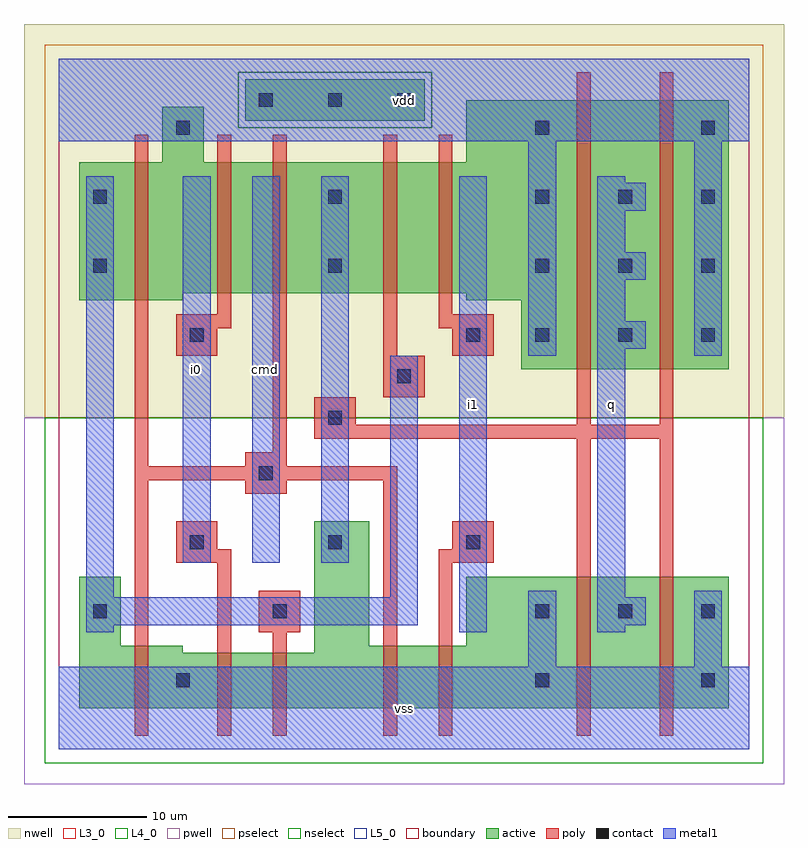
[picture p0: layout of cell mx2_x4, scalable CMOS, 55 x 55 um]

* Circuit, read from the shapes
.subckt mx2_x4 cmd i0 i1 q vdd vss
M1 vss cmd n1 VSUBS nfet w=4.5u l=1u
M2 n2 i0 vss VSUBS nfet w=4u l=1u
M3 n3 n1 n2 VSUBS nfet w=4u l=1u
M4 n4 cmd n3 VSUBS nfet w=4.5u l=1u
M5 vss i1 n4 VSUBS nfet w=4.5u l=1u
M6 q n3 vss VSUBS nfet w=9.5u l=1u m=2
M7 vdd cmd n1 vdd pfet w=10u l=1u
M8 n5 i0 vdd vdd pfet w=9.5u l=1u
M9 n3 cmd n5 vdd pfet w=9.5u l=1u
M10 n6 n1 n3 vdd pfet w=9.5u l=1u
M11 vdd i1 n6 vdd pfet w=9.5u l=1u
M12 q n3 vdd vdd pfet w=19.5u l=1u m=2
.ends

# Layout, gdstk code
import gdstk
lib = gdstk.Library(unit=1e-6, precision=1e-09)
def R(c, l, rs):  # rectangles x0, y0, x1, y1
    for r in rs: c.add(gdstk.rectangle(r[:2], r[2:], *l))
def A(c, l, x, y, w, h, nx, ny, dx, dy):  # array of equal rectangles
    R(c, l, [(x+i*dx, y+j*dy, x+i*dx+w, y+j*dy+h) for i in range(nx) for j in range(ny)])
L3_0 = (3, 0)
L4_0 = (4, 0)
L5_0 = (5, 0)
contact = (25, 0)
pwell = (41, 0)
nwell = (42, 0)
active = (43, 0)
pselect = (44, 0)
nselect = (45, 0)
poly = (46, 0)
metal1 = (49, 0)
boundary = (63, 0)

mx2_x4 = lib.new_cell('mx2_x4')
R(mx2_x4, L3_0, [(1.5,3,48.5,7), (1.5,7,9,7.5), (18.5,7,48.5,7.5), (1.5,7.5,4.5,12.5), (18.5,7.5,22.5,16.5), (29.5,7.5,48.5,12.5)])
R(mx2_x4, L4_0, [(33.5,27.5,48.5,32.5), (1.5,32.5,9,33), (29.5,32.5,48.5,33), (1.5,33,48.5,42.5), (7.5,42.5,10.5,46.5), (29.5,42.5,48.5,47)])
R(mx2_x4, L5_0, [(13.5,45.5,26.5,48.5)])
A(mx2_x4, contact, 34.5, 9.5, 1, 1, 3, 2, 6, 20)
A(mx2_x4, contact, 9.5, 14.5, 1, 1, 3, 1, 10, 0)
A(mx2_x4, contact, 34.5, 34.5, 1, 1, 3, 2, 6, 5)
A(mx2_x4, contact, 14.5, 46.5, 1, 1, 3, 1, 5, 0)
R(mx2_x4, contact, [(8.5,4.5,9.5,5.5), (34.5,4.5,35.5,5.5), (46.5,4.5,47.5,5.5), (2.5,9.5,3.5,10.5), (15.5,9.5,16.5,10.5), (14.5,19.5,15.5,20.5), (19.5,23.5,20.5,24.5), (24.5,26.5,25.5,27.5), (9.5,29.5,10.5,30.5), (29.5,29.5,30.5,30.5), (2.5,34.5,3.5,35.5), (19.5,34.5,20.5,35.5), (2.5,39.5,3.5,40.5), (19.5,39.5,20.5,40.5), (8.5,44.5,9.5,45.5), (34.5,44.5,35.5,45.5), (46.5,44.5,47.5,45.5)])
R(mx2_x4, pwell, [(-2.5,-2.5,52.5,24)])
R(mx2_x4, nwell, [(-2.5,24,52.5,52.5)])
R(mx2_x4, active, [(1.5,3,48.5,7), (1.5,7,9,7.5), (18.5,7,48.5,7.5), (1.5,7.5,4.5,12.5), (18.5,7.5,22.5,16.5), (29.5,7.5,48.5,12.5), (33.5,27.5,48.5,32.5), (1.5,32.5,9,33), (29.5,32.5,48.5,33), (1.5,33,48.5,42.5), (7.5,42.5,10.5,46.5), (29.5,42.5,48.5,47), (13.5,45.5,26.5,48.5)])
R(mx2_x4, pselect, [(-1,24,51,45), (-1,45,13,49), (27,45,51,49), (-1,49,51,51)])
R(mx2_x4, nselect, [(-1,-1,51,24), (13,45,27,49)])
R(mx2_x4, poly, [(5.5,1,6.5,19.5), (11.5,1,12.5,13.5), (15.5,1,16.5,8.5), (23.5,1,24.5,19.5), (27.5,1,28.5,13.5), (37.5,1,38.5,22.5), (43.5,1,44.5,22.5), (14.5,8.5,17.5,11.5), (8.5,13.5,12.5,14.5), (27.5,13.5,31.5,14.5), (8.5,14.5,11.5,16.5), (28.5,14.5,31.5,16.5), (13.5,18.5,16.5,19.5), (5.5,19.5,24.5,20.5), (5.5,20.5,6.5,44.5), (13.5,20.5,16.5,21.5), (15.5,21.5,16.5,44.5), (18.5,22.5,44.5,23.5), (18.5,23.5,21.5,25.5), (37.5,23.5,38.5,49), (43.5,23.5,44.5,49), (23.5,25.5,26.5,28.5), (8.5,28.5,11.5,30.5), (23.5,28.5,24.5,44.5), (28.5,28.5,31.5,30.5), (8.5,30.5,12.5,31.5), (27.5,30.5,31.5,31.5), (11.5,31.5,12.5,44.5), (27.5,31.5,28.5,44.5)])
R(mx2_x4, metal1, [(0,0,50,6), (0,0,50,6), (34,6,36,11.5), (34,6,36,11.5), (46,6,48,11.5), (46,6,48,11.5), (2,8.5,4,9), (2,8.5,4,9), (29,8.5,31,41.5), (29,8.5,31,41.5), (39,8.5,41,9), (39,8.5,41,9), (2,9,26,11), (2,9,26,11), (39,9,42.5,11), (39,9,42.5,11), (2,11,4,41.5), (2,11,4,41.5), (24,11,26,28.5), (24,11,26,28.5), (39,11,41,29), (39,11,41,29), (9,13.5,11,41.5), (9,13.5,11,41.5), (14,13.5,16,41.5), (14,13.5,16,41.5), (19,13.5,21,41.5), (19,13.5,21,41.5), (34,28.5,36,44), (34,28.5,36,44), (46,28.5,48,44), (46,28.5,48,44), (39,29,42.5,31), (39,29,42.5,31), (39,31,41,34), (39,31,41,34), (39,34,42.5,36), (39,34,42.5,36), (39,36,41,39), (39,36,41,39), (39,39,42.5,41), (39,39,42.5,41), (39,41,41,41.5), (39,41,41,41.5), (0,44,50,50), (0,44,50,50)])
R(mx2_x4, boundary, [(0,0,50,50)])
mx2_x4.add(gdstk.Label('i0', (10,27.5), layer=49, texttype=0))
mx2_x4.add(gdstk.Label('cmd', (15,27.5), layer=49, texttype=0))
mx2_x4.add(gdstk.Label('vss', (25,3), layer=49, texttype=0))
mx2_x4.add(gdstk.Label('i1', (30,25), layer=49, texttype=0))
mx2_x4.add(gdstk.Label('vdd', (25,47), layer=49, texttype=0))
mx2_x4.add(gdstk.Label('q', (40,25), layer=49, texttype=0))

lib.write_gds('mx2_x4.gds')
